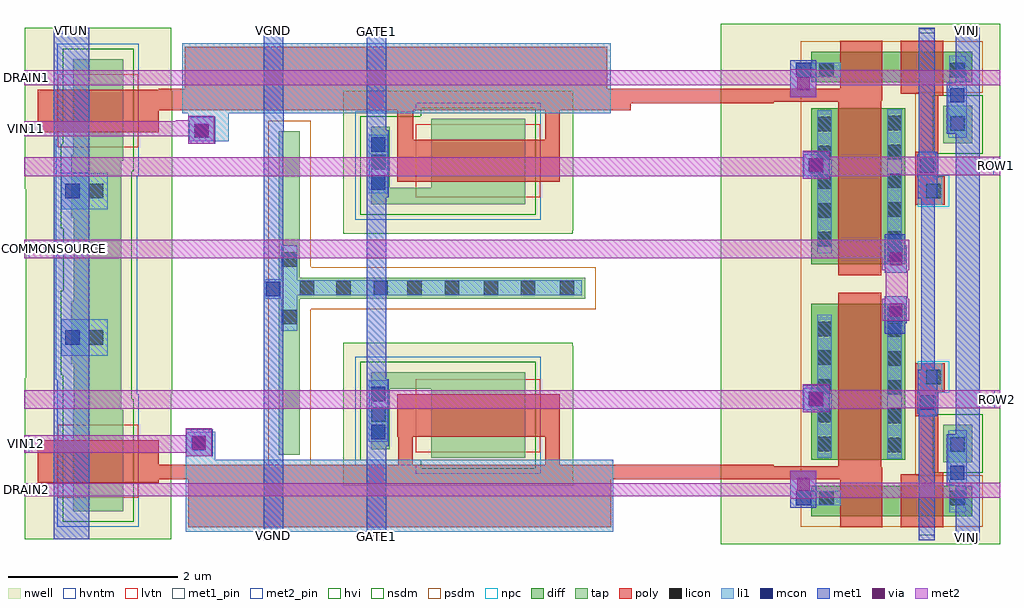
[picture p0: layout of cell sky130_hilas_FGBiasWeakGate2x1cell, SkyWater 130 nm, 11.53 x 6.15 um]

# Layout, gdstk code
import gdstk
lib = gdstk.Library(unit=1e-6, precision=1e-09)
def R(c, l, rs):  # rectangles x0, y0, x1, y1
    for r in rs: c.add(gdstk.rectangle(r[:2], r[2:], *l))
def A(c, l, x, y, w, h, nx, ny, dx, dy):  # array of equal rectangles
    R(c, l, [(x+i*dx, y+j*dy, x+i*dx+w, y+j*dy+h) for i in range(nx) for j in range(ny)])
nwell = (64, 20)
diff = (65, 20)
tap = (65, 44)
poly = (66, 20)
licon = (66, 44)
li1 = (67, 20)
mcon = (67, 44)
met1_pin = (68, 16)
met1 = (68, 20)
via = (68, 44)
met2_pin = (69, 16)
met2 = (69, 20)
hvi = (75, 20)
nsdm = (93, 44)
psdm = (94, 20)
npc = (95, 20)
hvntm = (125, 20)
lvtn = (125, 44)

sky130_hilas_li2m1 = lib.new_cell('sky130_hilas_li2m1')
R(sky130_hilas_li2m1, li1, [(-0.08,-0.05,0.11,0.18)])
R(sky130_hilas_li2m1, mcon, [(-0.07,-0.02,0.1,0.15)])
R(sky130_hilas_li2m1, met1, [(-0.1,-0.08,0.13,0.21)])

sky130_hilas_li2m2 = lib.new_cell('sky130_hilas_li2m2')
R(sky130_hilas_li2m2, li1, [(-0.13,-0.12,0.19,-0.09), (-0.13,-0.09,0.2,0.1), (-0.13,0.1,0.19,0.14)])
R(sky130_hilas_li2m2, mcon, [(-0.07,-0.08,0.1,0.09)])
R(sky130_hilas_li2m2, met1, [(-0.14,-0.15,0.18,0.17)])
R(sky130_hilas_li2m2, via, [(-0.055,-0.065,0.095,0.085)])
R(sky130_hilas_li2m2, met2, [(-0.14,-0.15,0.17,0.18)])

sky130_hilas_fgvaractorc = lib.new_cell('sky130_hilas_FGVaractorCapacitor02')
R(sky130_hilas_fgvaractorc, nwell, [(-10.05,-3.8,-7.33,-2.15), (-10.05,-2.15,-7.34,-2.11)])
R(sky130_hilas_fgvaractorc, tap, [(-9.01,-3.47,-7.9,-2.65), (-9.72,-3.37,-9.5,-2.65), (-9.72,-2.65,-7.9,-2.46)])
R(sky130_hilas_fgvaractorc, poly, [(-9.41,-3.22,-7.49,-2.72)])
R(sky130_hilas_fgvaractorc, licon, [(-9.715,-3.04,-9.545,-2.87)])
R(sky130_hilas_fgvaractorc, li1, [(-9.75,-3.28,-9.52,-2.59)])
R(sky130_hilas_fgvaractorc, mcon, [(-9.72,-3.25,-9.55,-3.08), (-9.72,-2.8,-9.55,-2.63)])
R(sky130_hilas_fgvaractorc, met1, [(-9.77,-3.33,-9.51,-2.54)])
R(sky130_hilas_fgvaractorc, hvi, [(-10.05,-3.8,-7.33,-2.15), (-10.05,-2.15,-7.34,-2.11)])
R(sky130_hilas_fgvaractorc, nsdm, [(-9.135,-3.595,-7.775,-3.495), (-9.845,-3.495,-7.775,-2.335)])
R(sky130_hilas_fgvaractorc, hvntm, [(-9.195,-3.655,-7.715,-3.555), (-9.905,-3.555,-7.715,-2.275)])
R(sky130_hilas_fgvaractorc, lvtn, [(-9.19,-3.4,-7.72,-2.54)])

sky130_hilas_tuncap01 = lib.new_cell('sky130_hilas_TunCap01')
R(sky130_hilas_tuncap01, nwell, [(-14.51,-4,-12.78,-2.1)])
R(sky130_hilas_tuncap01, tap, [(-13.94,-3.67,-13.35,-2.47)])
R(sky130_hilas_tuncap01, poly, [(-14.36,-3.33,-12.93,-2.83)])
R(sky130_hilas_tuncap01, hvi, [(-14.51,-4,-12.78,-2.1)])
R(sky130_hilas_tuncap01, nsdm, [(-14.065,-3.795,-13.225,-2.345)])
R(sky130_hilas_tuncap01, hvntm, [(-14.125,-3.855,-13.165,-2.285)])
R(sky130_hilas_tuncap01, lvtn, [(-14.12,-3.51,-13.17,-2.65)])

sky130_hilas_wellcontact = lib.new_cell('sky130_hilas_wellContact')
R(sky130_hilas_wellcontact, nwell, [(-14.48,-4.4,-12.75,-2.56)])
R(sky130_hilas_wellcontact, tap, [(-13.94,-4.05,-13.35,-3.31)])
R(sky130_hilas_wellcontact, licon, [(-13.735,-3.82,-13.565,-3.65)])
R(sky130_hilas_wellcontact, li1, [(-14.06,-3.95,-13.51,-3.52)])
R(sky130_hilas_wellcontact, mcon, [(-14.01,-3.82,-13.84,-3.65)])
R(sky130_hilas_wellcontact, met1, [(-14.12,-4.41,-13.73,-2.55)])
R(sky130_hilas_wellcontact, hvi, [(-14.48,-4.4,-12.75,-2.56)])
R(sky130_hilas_wellcontact, nsdm, [(-14.065,-4.175,-13.225,-3.185)])

sky130_hilas_horiztransc = lib.new_cell('sky130_hilas_horizTransCell01')
R(sky130_hilas_horiztransc, nwell, [(-3.63,0.42,-0.33,3.59)])
R(sky130_hilas_horiztransc, diff, [(-2.56,0.75,-0.66,1.11), (-2.56,1.42,-1.45,3.26)])
R(sky130_hilas_horiztransc, tap, [(-1,1.39,-0.66,1.83)])
R(sky130_hilas_horiztransc, poly, [(-2.22,0.62,-1.72,1.19), (-1.5,0.62,-1,1.25), (-4.76,1.19,-1.72,1.33), (-1.29,1.25,-1,1.27), (-1.29,1.27,-1.06,1.93), (-4.76,1.33,-1.73,1.34), (-4.76,1.34,-3,1.36), (-2.24,1.34,-1.73,3.39), (-1.33,1.93,-1.06,2.22), (-1.33,2.22,-0.98,2.56)])
A(sky130_hilas_horiztransc, licon, -1.66, 1.51, 0.17, 0.17, 1, 5, 0, 0.34)
A(sky130_hilas_horiztransc, licon, -2.49, 1.52, 0.17, 0.17, 1, 5, 0, 0.34)
R(sky130_hilas_horiztransc, licon, [(-2.465,0.88,-2.295,1.05), (-0.915,0.88,-0.745,1.05), (-0.915,1.515,-0.745,1.685), (-1.2,2.31,-1.03,2.48)])
R(sky130_hilas_horiztransc, li1, [(-0.93,0.8,-0.73,1.15), (-2.74,0.88,-2.21,1.05), (-0.93,1.15,-0.72,1.18), (-0.94,1.18,-0.72,1.76), (-1.66,1.43,-1.49,3.04), (-2.49,1.44,-2.32,3.13), (-0.93,1.76,-0.72,1.77), (-1.29,1.93,-1.1,1.94), (-1.29,1.94,-1.09,2.23), (-1.3,2.23,-1.01,2.56), (-1.66,3.04,-1.48,3.23)])
R(sky130_hilas_horiztransc, mcon, [(-2.735,0.88,-2.565,1.05), (-0.92,1.18,-0.75,1.35), (-1.275,2.01,-1.105,2.18), (-1.655,3.05,-1.485,3.22)])
R(sky130_hilas_horiztransc, met1, [(-1.29,0.48,-1.1,1.93), (-0.85,0.48,-0.69,1.12), (-2.81,0.85,-2.5,1.29), (-0.96,1.12,-0.69,1.67), (-0.96,1.67,-0.68,1.72), (-0.85,1.72,-0.68,1.81), (-0.85,1.81,-0.69,3.5), (-1.29,1.93,-1.07,1.96), (-1.31,1.96,-1.06,2.23), (-1.3,2.23,-1.06,2.24), (-1.3,2.24,-1.07,2.48), (-1.26,2.48,-1.1,3.5), (-1.69,2.91,-1.45,3.29)])
R(sky130_hilas_horiztransc, via, [(-2.725,1.055,-2.575,1.205)])
R(sky130_hilas_horiztransc, met2, [(-2.81,0.96,-2.5,0.97), (-2.81,0.97,-0.33,1.15), (-2.81,1.15,-2.5,1.29)])
R(sky130_hilas_horiztransc, hvi, [(-3.63,0.42,-0.33,3.59)])
R(sky130_hilas_horiztransc, nsdm, [(-1.125,1.265,-0.535,1.955)])
R(sky130_hilas_horiztransc, psdm, [(-2.685,0.625,-0.535,1.235), (-2.685,1.235,-1.325,3.385)])
R(sky130_hilas_horiztransc, npc, [(-1.3,2.21,-0.93,2.58)])

sky130_hilas_m12m2 = lib.new_cell('sky130_hilas_m12m2')
R(sky130_hilas_m12m2, met1, [(-0.06,-0.1,0.2,0.22)])
R(sky130_hilas_m12m2, via, [(-0.005,-0.015,0.145,0.135)])
R(sky130_hilas_m12m2, met2, [(-0.09,-0.07,0.23,0.19)])

sky130_hilas_fgbiasweakg = lib.new_cell('sky130_hilas_FGBiasWeakGate2x1cell')
R(sky130_hilas_fgbiasweakg, nwell, [(-3.37,-2.42,-2.81,0)])
R(sky130_hilas_fgbiasweakg, tap, [(-0.95,-2.81,-0.7,-0.97), (-3.37,-2.42,-2.81,0), (-0.95,-0.97,2.67,-0.72), (-0.95,-0.72,-0.7,1.01)])
R(sky130_hilas_fgbiasweakg, poly, [(-2.02,-3.67,2.98,-3.1), (-2.8,-3.1,3.31,-2.93), (0.46,-2.93,0.63,-2.6), (2.2,-2.93,2.37,-2.6), (2.2,0.9,2.37,1.26), (0.45,0.91,0.64,1.26), (-2.37,1.26,3.21,1.34), (-2.37,1.34,3.32,1.51), (-2.06,1.51,2.93,2.01)])
R(sky130_hilas_fgbiasweakg, licon, [(-0.91,-1.27,-0.74,-1.1), (-0.7,-0.93,-0.53,-0.76), (-0.27,-0.93,-0.1,-0.76), (0.17,-0.93,0.34,-0.76), (0.57,-0.93,0.74,-0.76), (1.01,-0.93,1.18,-0.76), (1.91,-0.93,2.08,-0.76), (2.37,-0.93,2.54,-0.76), (1.47,-0.92,1.64,-0.75), (-0.91,-0.59,-0.74,-0.42)])
R(sky130_hilas_fgbiasweakg, li1, [(-2.05,-3.72,3,-2.87), (-2.05,-2.87,-1.7,-2.79), (-1.72,-2.79,-1.7,-2.54), (0.11,-1.97,0.34,-1.93), (-0.92,-1.35,-0.73,-0.93), (-0.92,-0.93,2.63,-0.75), (-0.92,-0.75,-0.73,-0.34), (-1.69,0.89,-1.54,1.14), (-2.02,1.14,-1.54,1.22), (-2.09,1.22,2.97,2.05)])
R(sky130_hilas_fgbiasweakg, met1_pin, [(-1.13,-3.82,-0.9,-3.72), (0.09,-3.82,0.32,-3.74), (6.61,-3.82,6.8,-3.76), (7.05,-3.82,7.33,-3.75), (0.09,2.15,0.32,2.23), (-3.61,2.16,-3.19,2.23), (-1.13,2.16,-0.9,2.23), (7.05,2.16,7.33,2.23), (6.61,2.17,6.8,2.22)])
R(sky130_hilas_fgbiasweakg, met1, [(-1.13,-3.82,-0.9,1.01), (0.09,-3.82,0.32,2.23), (6.61,-3.82,6.8,-3.76), (7.05,-3.82,7.33,2.23), (-3.61,-3.81,-3.19,2.23), (-1.13,1.01,-0.89,1.26), (-1.13,1.26,-0.9,2.23), (6.61,2.17,6.8,2.23)])
R(sky130_hilas_fgbiasweakg, met2_pin, [(-3.96,-3.3,-3.91,-3.15), (-3.96,-2.79,-3.9,-2.58), (7.5,-2.26,7.57,-2.05), (-3.96,-0.49,-3.9,-0.27), (7.49,0.49,7.57,0.71), (-3.96,0.95,-3.91,1.13), (-3.96,1.55,-3.89,1.73)])
R(sky130_hilas_fgbiasweakg, met2, [(-3.96,-3.3,5.14,-3.2), (-3.96,-3.2,5.26,-3.15), (5.1,-3.15,5.26,-3.13), (-3.96,-2.79,-2.01,-2.58), (-3.96,-2.27,6.26,-2.26), (-3.96,-2.26,7.57,-2.05), (6.22,-0.98,6.48,-0.63), (-3.96,-0.49,6.5,-0.27), (-3.96,0.48,6.26,0.49), (-3.96,0.49,7.57,0.7), (5.54,0.7,7.57,0.71), (-3.96,0.95,-2.02,0.97), (-3.96,0.97,-1.71,1.13), (-2.17,1.13,-1.71,1.14), (-3.96,1.55,5.16,1.73)])
R(sky130_hilas_fgbiasweakg, hvi, [(-3.555,-2.605,-2.625,0.185)])
R(sky130_hilas_fgbiasweakg, nsdm, [(-3.495,-2.545,-2.685,-2.155), (-3.505,-2.155,-2.685,-1.865), (-3.495,-1.865,-2.685,0.125)])
R(sky130_hilas_fgbiasweakg, psdm, [(-1.075,-2.935,-0.575,-1.095), (-1.075,-1.095,2.795,-0.595), (5.215,-0.905,6.575,-0.685), (-1.075,-0.595,-0.575,1.135)])
R(sky130_hilas_fgbiasweakg, hvntm, [(-3.565,-2.095,-2.625,-1.925), (-3.585,-1.925,-2.625,0.475), (-3.585,0.475,-3.565,0.915)])
sky130_hilas_fgbiasweakg.add(gdstk.Reference(sky130_hilas_li2m1, (-1.03,-0.92)))
sky130_hilas_fgbiasweakg.add(gdstk.Reference(sky130_hilas_li2m2, (-1.91,-2.68)))
sky130_hilas_fgbiasweakg.add(gdstk.Reference(sky130_hilas_li2m2, (-1.88,1.01)))
sky130_hilas_fgbiasweakg.add(gdstk.Reference(sky130_hilas_fgvaractorc, (9.86,0.62)))
sky130_hilas_fgbiasweakg.add(gdstk.Reference(sky130_hilas_fgvaractorc, (9.86,-2.31), x_reflection=True))
sky130_hilas_fgbiasweakg.add(gdstk.Reference(sky130_hilas_tuncap01, (10.56,4.33)))
sky130_hilas_fgbiasweakg.add(gdstk.Reference(sky130_hilas_tuncap01, (10.56,0.19)))
sky130_hilas_fgbiasweakg.add(gdstk.Reference(sky130_hilas_wellcontact, (10.54,4.04)))
sky130_hilas_fgbiasweakg.add(gdstk.Reference(sky130_hilas_wellcontact, (10.54,2.31)))
sky130_hilas_fgbiasweakg.add(gdstk.Reference(sky130_hilas_horiztransc, (7.9,-4.29)))
sky130_hilas_fgbiasweakg.add(gdstk.Reference(sky130_hilas_horiztransc, (7.9,2.7), x_reflection=True))
sky130_hilas_fgbiasweakg.add(gdstk.Reference(sky130_hilas_li2m2, (5.38,-2.16)))
sky130_hilas_fgbiasweakg.add(gdstk.Reference(sky130_hilas_li2m2, (5.38,0.6)))
sky130_hilas_fgbiasweakg.add(gdstk.Reference(sky130_hilas_m12m2, (6.27,-1.16)))
sky130_hilas_fgbiasweakg.add(gdstk.Reference(sky130_hilas_m12m2, (6.27,-0.56)))
sky130_hilas_fgbiasweakg.add(gdstk.Label('DRAIN1', (-3.925,1.64), layer=69, texttype=16))
sky130_hilas_fgbiasweakg.add(gdstk.Label('VIN11', (-3.935,1.04), layer=69, texttype=16))
sky130_hilas_fgbiasweakg.add(gdstk.Label('ROW1', (7.53,0.6), layer=69, texttype=16))
sky130_hilas_fgbiasweakg.add(gdstk.Label('ROW2', (7.535,-2.155), layer=69, texttype=16))
sky130_hilas_fgbiasweakg.add(gdstk.Label('VINJ', (7.19,2.195), layer=68, texttype=16))
sky130_hilas_fgbiasweakg.add(gdstk.Label('VINJ', (7.19,-3.785), layer=68, texttype=16))
sky130_hilas_fgbiasweakg.add(gdstk.Label('COLSEL1', (6.705,2.195), layer=68, texttype=16))
sky130_hilas_fgbiasweakg.add(gdstk.Label('COLSEL1', (6.705,-3.79), layer=68, texttype=16))
sky130_hilas_fgbiasweakg.add(gdstk.Label('VGND', (-1.015,2.195), layer=68, texttype=16))
sky130_hilas_fgbiasweakg.add(gdstk.Label('VGND', (-1.015,-3.77), layer=68, texttype=16))
sky130_hilas_fgbiasweakg.add(gdstk.Label('GATE1', (0.205,2.19), layer=68, texttype=16))
sky130_hilas_fgbiasweakg.add(gdstk.Label('VTUN', (-3.4,2.195), layer=68, texttype=16))
sky130_hilas_fgbiasweakg.add(gdstk.Label('GATE1', (0.205,-3.78), layer=68, texttype=16))
sky130_hilas_fgbiasweakg.add(gdstk.Label('DRAIN2', (-3.935,-3.225), layer=69, texttype=16))
sky130_hilas_fgbiasweakg.add(gdstk.Label('VIN12', (-3.93,-2.685), layer=69, texttype=16))
sky130_hilas_fgbiasweakg.add(gdstk.Label('COMMONSOURCE', (-3.93,-0.38), layer=69, texttype=16))

lib.write_gds('sky130_hilas_FGBiasWeakGate2x1cell.gds')
